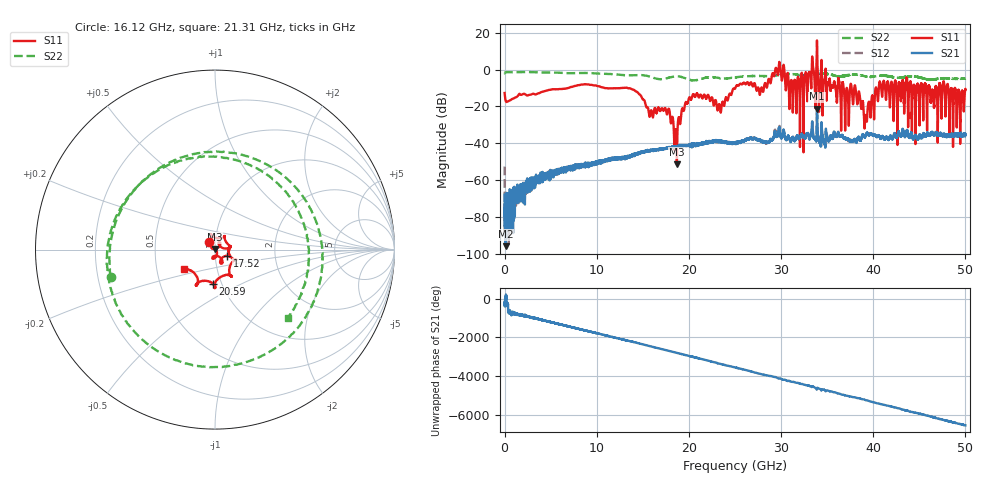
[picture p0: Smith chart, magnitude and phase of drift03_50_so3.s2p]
!Created with skrf (http://scikit-rf.org).
# Hz S RI R 50.0
!freq ReS11 ImS11 ReS21 ImS21 ReS12 ImS12 ReS22 ImS22
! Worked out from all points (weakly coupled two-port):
!   10001 points, 300 kHz to 50 GHz, reference 50 ohm
!   highest |S21| = -21.32 dB at 33.9 GHz (marker M1); lowest = -95.9 dB at 140.3 MHz (marker M2)
!   lowest |S11| = -51.4 dB at 18.69 GHz (marker M3), VSWR 1.01, Z = 49.9 + j0.225 ohm
!   |S11| at or under -10 dB: start of sweep to 6.945 GHz; 13.31 GHz to 25.05 GHz (11.73 GHz wide, 61.2 % of centre); 38.08 GHz to 40.26 GHz (2.182 GHz wide, 5.57 % of centre) (the widest 3 of 52)
!   |S22| runs from -5.9 to -1.3 dB; largest |S21 - S12| = 0.0085
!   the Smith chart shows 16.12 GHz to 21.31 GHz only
!   S11 on the Smith chart (normalised r, x): 16.12 GHz: 0.93, +0.08; 17.52 GHz: 1.15, -0.08; 20.59 GHz: 0.91, -0.36; 21.31 GHz: 0.69, -0.16
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300000  -0.2097 -0.0964  -0.000401 -3.03e-05  0.00162 0.00167  -0.7672 -0.1874
1.402992e8  -0.1221 0.0601  7.16e-06 1.44e-05  4.37e-06 0.00019  -0.8143 0.2234
1.535291e9  0.2047 0.0434  -8.47e-05 -0.000287  -0.000198 -0.000469  0.8491 0.0784
3.160281e9  -0.2186 -0.00853  8.25e-05 0.000911  0.000164 0.000943  -0.8446 -0.0251
4.665272e9  0.2634 0.0617  -0.000389 -0.00136  -1.03e-05 -0.00153  0.8185 0.1434
6.360262e9  -0.3001 0.000505  0.000528 0.00167  0.000299 0.00188  -0.8033 -0.0441
8.33525e9  0.2841 -0.2674  -0.00217 -0.000997  -0.00221 -0.000726  0.6028 -0.5356
9.575243e9  -0.3717 -0.0483  0.00145 0.0025  0.00124 0.00254  -0.7859 -0.0962
1.124523e10  0.306 0.0235  -0.00218 -0.00314  -0.00234 -0.00255  0.7571 0.0219
1.61152e10  -0.0323 0.0408  0.00608 0.00194  0.00607 0.00221  -0.5806 -0.1533
1.66702e10  0.0534 0.0758  0.00468 -0.00493  0.00461 -0.00485  -0.3617 0.4171
1.751519e10  0.0696 -0.0348  -0.00603 -0.00407  -0.00605 -0.00421  0.4852 0.3018
1.869019e10  -0.00146 0.00226  0.00227 0.00785  0.00241 0.00798  -0.0813 -0.6503
2.058518e10  -0.0104 -0.1901  -0.00805 -0.00498  -0.00779 -0.00409  0.38 0.3365
2.131017e10  -0.1719 -0.1105  -0.00573 0.00778  -0.00542 0.00817  0.4055 -0.3787
2.500015e10  -0.2967 -0.0491  0.008 0.00683  0.00771 0.00663  -0.1816 -0.5824
3.051512e10  0.2401 -0.1272  -0.00209 0.0124  -0.0019 0.0124  0.7436 -0.0641
3.213511e10  0.2001 0.3985  -0.000746 -0.0153  -0.000529 -0.0157  -0.6998 0.00941
3.33351e10  0.4488 -0.9958  -0.00636 0.0263  -0.00587 0.0239  0.6107 0.3698
3.38951e10  -0.8054 -6.09  0.0853 0.0104  0.0808 0.00648  0.6848 -0.3178
4.167005e10  -0.2217 0.287  -0.0117 -0.00436  -0.0114 -0.0049  -0.6557 -0.0609
5e10  -0.1503 -0.2553  0.00242 -0.0176  0.00165 -0.0166  0.4736 -0.3115
